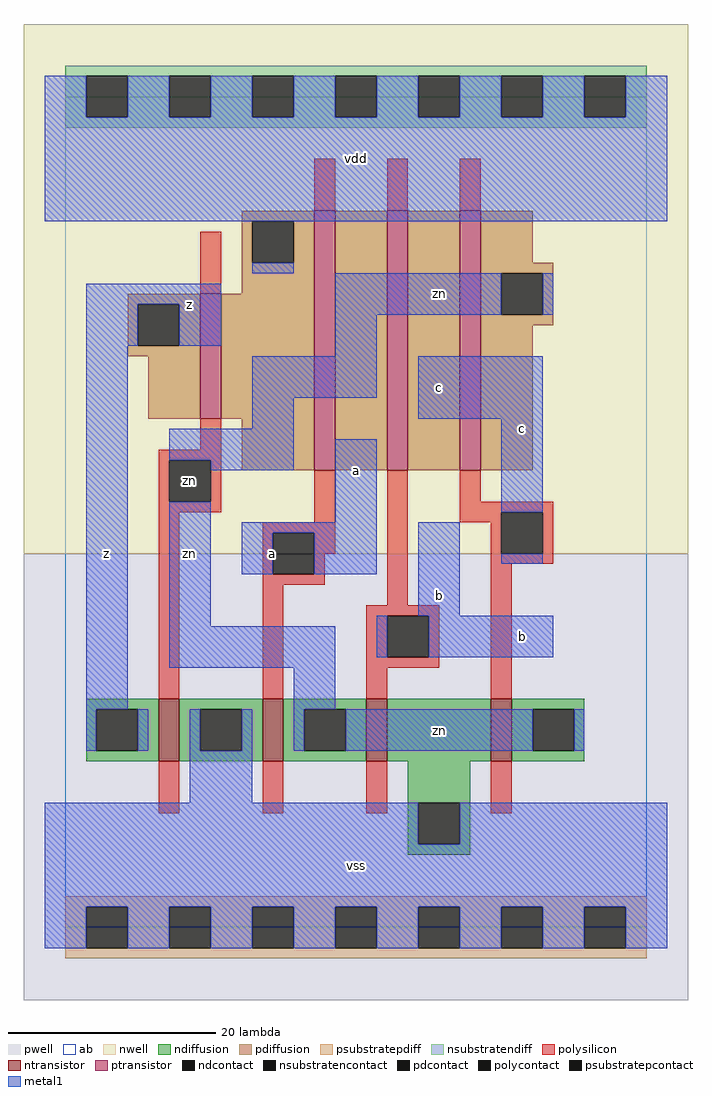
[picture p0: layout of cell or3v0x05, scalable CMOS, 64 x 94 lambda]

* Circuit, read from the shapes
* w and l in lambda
.subckt or3v0x05 a b c vdd vss z zn
M1 vss zn z vss nfet w=6 l=2
M2 zn a vss vss nfet w=6 l=2
M3 vss b zn vss nfet w=6 l=2
M4 zn c vss vss nfet w=6 l=2
M5 vdd zn z vdd pfet w=12 l=2
M6 n1 a vdd vdd pfet w=25 l=2
M7 n2 b n1 vdd pfet w=25 l=2
M8 zn c n2 vdd pfet w=25 l=2
.ends

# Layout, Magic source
magic
tech scmos
<< ab >>
rect 0 0 56 80
<< pwell >>
rect -4 -7 60 36
<< nwell >>
rect -4 36 60 87
<< polysilicon >>
rect 24 69 26 74
rect 31 69 33 74
rect 38 69 40 74
rect 13 61 15 67
rect 13 46 15 49
rect 9 45 15 46
rect 9 41 10 45
rect 14 41 15 45
rect 9 40 15 41
rect 9 22 11 40
rect 24 39 26 44
rect 19 38 26 39
rect 19 34 20 38
rect 24 36 26 38
rect 24 34 25 36
rect 19 33 25 34
rect 19 22 21 33
rect 31 31 33 44
rect 38 41 40 44
rect 38 40 47 41
rect 38 39 42 40
rect 41 36 42 39
rect 46 36 47 40
rect 41 35 47 36
rect 29 30 36 31
rect 29 26 31 30
rect 35 26 36 30
rect 29 25 36 26
rect 29 22 31 25
rect 41 22 43 35
rect 9 11 11 16
rect 19 11 21 16
rect 29 11 31 16
rect 41 11 43 16
<< ndiffusion >>
rect 2 21 9 22
rect 2 17 3 21
rect 7 17 9 21
rect 2 16 9 17
rect 11 21 19 22
rect 11 17 13 21
rect 17 17 19 21
rect 11 16 19 17
rect 21 21 29 22
rect 21 17 23 21
rect 27 17 29 21
rect 21 16 29 17
rect 31 16 41 22
rect 43 21 50 22
rect 43 17 45 21
rect 49 17 50 21
rect 43 16 50 17
rect 33 12 39 16
rect 33 8 34 12
rect 38 8 39 12
rect 33 7 39 8
<< pdiffusion >>
rect 17 68 24 69
rect 17 64 18 68
rect 22 64 24 68
rect 17 61 24 64
rect 6 60 13 61
rect 6 56 7 60
rect 11 56 13 60
rect 6 55 13 56
rect 8 49 13 55
rect 15 49 24 61
rect 17 44 24 49
rect 26 44 31 69
rect 33 44 38 69
rect 40 64 45 69
rect 40 63 47 64
rect 40 59 42 63
rect 46 59 47 63
rect 40 58 47 59
rect 40 44 45 58
<< metal1 >>
rect -2 78 2 82
rect 6 78 10 82
rect 14 78 18 82
rect 22 78 26 82
rect 30 78 34 82
rect 38 78 42 82
rect 46 78 50 82
rect 54 78 58 82
rect -2 68 58 78
rect 18 63 22 64
rect 2 60 15 62
rect 2 56 7 60
rect 11 56 15 60
rect 26 59 42 63
rect 46 59 47 63
rect 2 21 6 56
rect 26 55 30 59
rect 18 51 30 55
rect 18 48 22 51
rect 34 49 46 55
rect 10 45 22 48
rect 14 44 22 45
rect 10 29 14 41
rect 26 39 30 47
rect 42 40 46 49
rect 17 38 30 39
rect 17 34 20 38
rect 24 34 30 38
rect 34 30 38 39
rect 42 35 46 36
rect 10 25 26 29
rect 30 26 31 30
rect 35 26 47 30
rect 22 21 26 25
rect 2 17 3 21
rect 7 17 8 21
rect 12 17 13 21
rect 17 17 18 21
rect 22 17 23 21
rect 27 17 45 21
rect 49 17 50 21
rect 12 12 18 17
rect -2 8 34 12
rect 38 8 58 12
rect -2 2 58 8
rect -2 -2 2 2
rect 6 -2 10 2
rect 14 -2 18 2
rect 22 -2 26 2
rect 30 -2 34 2
rect 38 -2 42 2
rect 46 -2 50 2
rect 54 -2 58 2
<< ntransistor >>
rect 9 16 11 22
rect 19 16 21 22
rect 29 16 31 22
rect 41 16 43 22
<< ptransistor >>
rect 13 49 15 61
rect 24 44 26 69
rect 31 44 33 69
rect 38 44 40 69
<< polycontact >>
rect 10 41 14 45
rect 20 34 24 38
rect 42 36 46 40
rect 31 26 35 30
<< ndcontact >>
rect 3 17 7 21
rect 13 17 17 21
rect 23 17 27 21
rect 45 17 49 21
rect 34 8 38 12
<< pdcontact >>
rect 18 64 22 68
rect 7 56 11 60
rect 42 59 46 63
<< psubstratepcontact >>
rect 2 -2 6 2
rect 10 -2 14 2
rect 18 -2 22 2
rect 26 -2 30 2
rect 34 -2 38 2
rect 42 -2 46 2
rect 50 -2 54 2
<< nsubstratencontact >>
rect 2 78 6 82
rect 10 78 14 82
rect 18 78 22 82
rect 26 78 30 82
rect 34 78 38 82
rect 42 78 46 82
rect 50 78 54 82
<< psubstratepdiff >>
rect 0 2 56 3
rect 0 -2 2 2
rect 6 -2 10 2
rect 14 -2 18 2
rect 22 -2 26 2
rect 30 -2 34 2
rect 38 -2 42 2
rect 46 -2 50 2
rect 54 -2 56 2
rect 0 -3 56 -2
<< nsubstratendiff >>
rect 0 82 56 83
rect 0 78 2 82
rect 6 78 10 82
rect 14 78 18 82
rect 22 78 26 82
rect 30 78 34 82
rect 38 78 42 82
rect 46 78 50 82
rect 54 78 56 82
rect 0 77 56 78
<< labels >>
rlabel polycontact 12 43 12 43 6 zn
rlabel metal1 4 36 4 36 6 z
rlabel metal1 20 36 20 36 6 a
rlabel metal1 12 36 12 36 6 zn
rlabel metal1 12 60 12 60 6 z
rlabel metal1 28 6 28 6 6 vss
rlabel metal1 36 32 36 32 6 b
rlabel metal1 28 44 28 44 6 a
rlabel metal1 36 52 36 52 6 c
rlabel metal1 28 74 28 74 6 vdd
rlabel metal1 36 19 36 19 6 zn
rlabel metal1 44 28 44 28 6 b
rlabel metal1 44 48 44 48 6 c
rlabel metal1 36 61 36 61 6 zn
<< end >>
